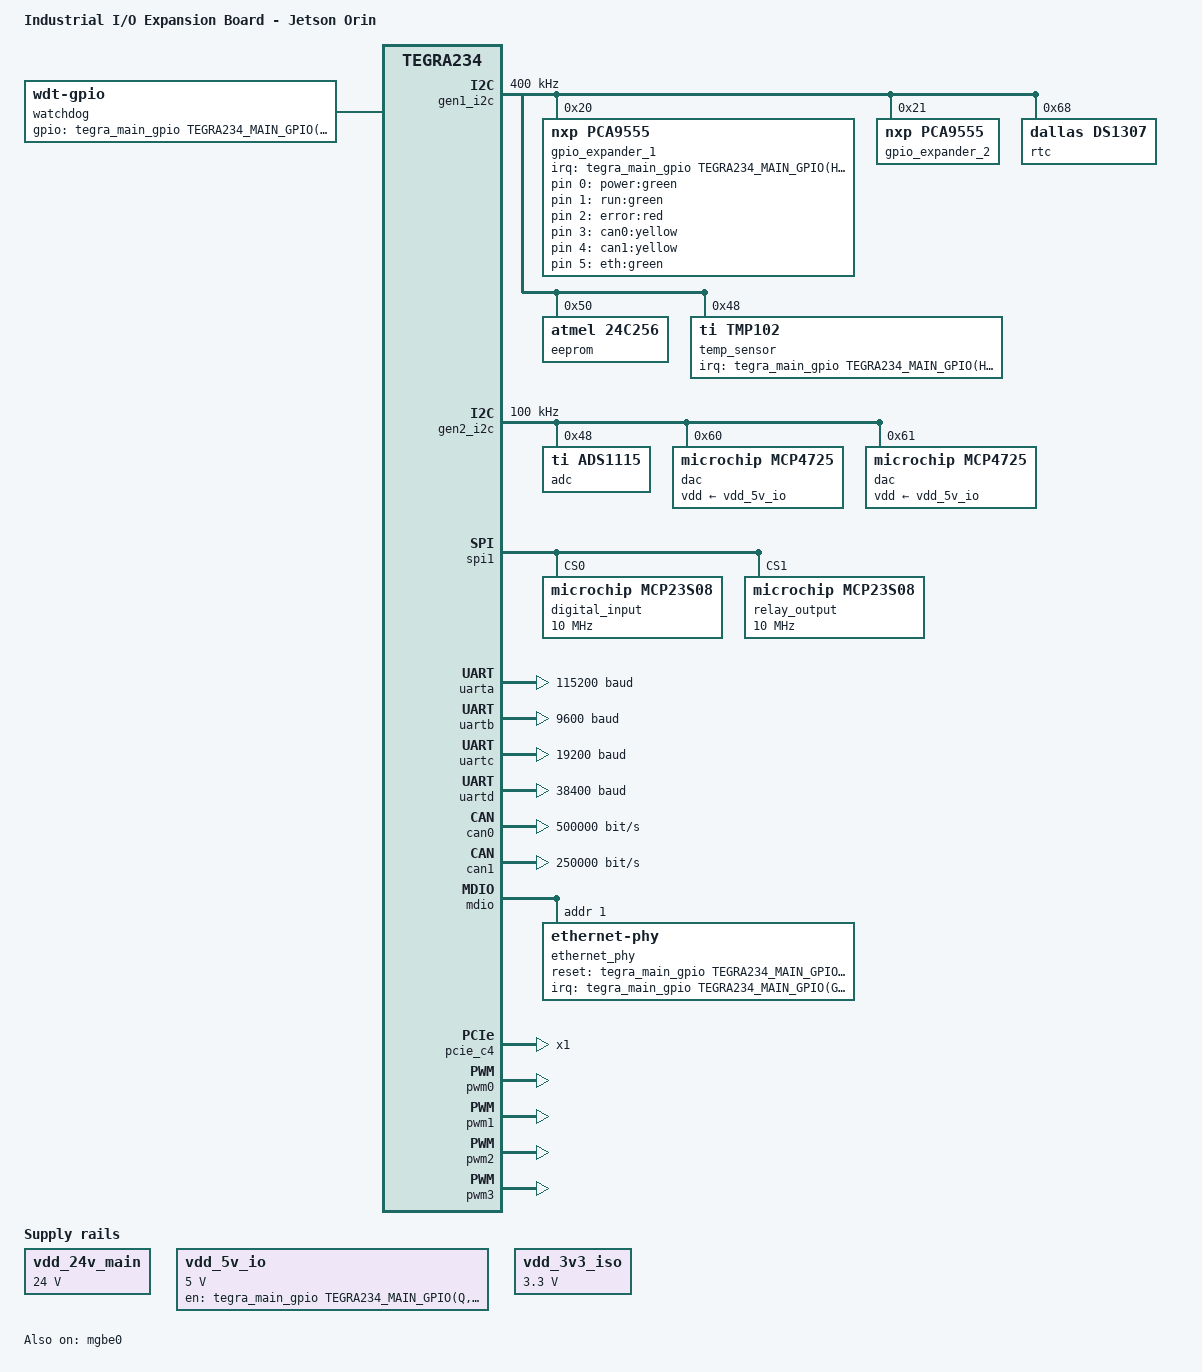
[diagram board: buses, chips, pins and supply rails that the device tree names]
// SPDX-License-Identifier: GPL-2.0
/*
 * Industrial I/O Expansion Board for Jetson Orin
 *
 * This device tree describes an industrial automation carrier board
 * with extensive I/O capabilities for factory automation, robotics,
 * and process control applications.
 *
 * Features:
 * - 8x isolated digital inputs (24V)
 * - 8x relay outputs (250VAC/30VDC)
 * - 4x analog inputs (0-10V, 4-20mA)
 * - 2x analog outputs (0-10V)
 * - 2x CAN bus (industrial protocols)
 * - 4x RS-485 serial ports
 * - Ethernet with TSN (Time-Sensitive Networking)
 * - Isolated power supplies
 * - Watchdog timer
 * - Real-time clock with battery backup
 *
 * Target: Industrial automation, robotics, machine control
 *
 * Compilation:
 *   dtc -I dts -O dtb -o industrial-io-board.dtb industrial-io-board.dts
 */

/dts-v1/;

#include <dt-bindings/clock/tegra234-clock.h>
#include <dt-bindings/gpio/tegra234-gpio.h>
#include <dt-bindings/interrupt-controller/arm-gic.h>

/ {
    model = "Industrial I/O Expansion Board - Jetson Orin";
    compatible = "industrial,io-board", "nvidia,p3768-0000+p3767-0000", "nvidia,tegra234";

    #address-cells = <2>;
    #size-cells = <2>;

    chosen {
        bootargs = "console=ttyTCU0,115200 isolcpus=0-3";  /* CPU isolation for RT */
        stdout-path = "serial0:115200n8";
    };

    /*
     * Power Supplies
     * ==============
     */
    regulators {
        compatible = "simple-bus";
        #address-cells = <1>;
        #size-cells = <0>;

        /* Main 24V input (from industrial power supply) */
        vdd_24v_main: regulator@0 {
            compatible = "regulator-fixed";
            reg = <0>;
            regulator-name = "VDD_24V_MAIN";
            regulator-min-microvolt = <24000000>;
            regulator-max-microvolt = <24000000>;
            regulator-always-on;
            regulator-boot-on;
        };

        /* Isolated 5V for I/O modules */
        vdd_5v_io: regulator@1 {
            compatible = "regulator-fixed";
            reg = <1>;
            regulator-name = "VDD_5V_IO";
            regulator-min-microvolt = <5000000>;
            regulator-max-microvolt = <5000000>;
            regulator-always-on;
            enable-active-high;
            gpio = <&tegra_main_gpio TEGRA234_MAIN_GPIO(Q, 0) 0>;
        };

        /* Isolated 3.3V for CAN/RS485 transceivers */
        vdd_3v3_iso: regulator@2 {
            compatible = "regulator-fixed";
            reg = <2>;
            regulator-name = "VDD_3V3_ISO";
            regulator-min-microvolt = <3300000>;
            regulator-max-microvolt = <3300000>;
            regulator-always-on;
        };
    };

    /*
     * Watchdog Timer
     * ==============
     */
    watchdog {
        compatible = "linux,wdt-gpio";
        gpios = <&tegra_main_gpio TEGRA234_MAIN_GPIO(R, 0) GPIO_ACTIVE_HIGH>;
        hw_algo = "toggle";
        hw_margin_ms = <1000>;
        always-running;
    };

    /*
     * Status LEDs
     * ===========
     */
    gpio-leds {
        compatible = "gpio-leds";

        power-ok {
            label = "power:green";
            gpios = <&gpio_expander_1 0 0>;
            default-state = "on";
        };

        system-run {
            label = "run:green";
            gpios = <&gpio_expander_1 1 0>;
            linux,default-trigger = "heartbeat";
        };

        system-error {
            label = "error:red";
            gpios = <&gpio_expander_1 2 0>;
            default-state = "off";
        };

        can0-active {
            label = "can0:yellow";
            gpios = <&gpio_expander_1 3 0>;
            linux,default-trigger = "can0-activity";
        };

        can1-active {
            label = "can1:yellow";
            gpios = <&gpio_expander_1 4 0>;
            linux,default-trigger = "can1-activity";
        };

        ethernet-link {
            label = "eth:green";
            gpios = <&gpio_expander_1 5 0>;
            linux,default-trigger = "netdev";
        };
    };
};

/*
 * I2C Configuration
 * =================
 */

/* I2C1: System Management */
&gen1_i2c {
    status = "okay";
    clock-frequency = <400000>;

    /* GPIO Expander for I/O control */
    gpio_expander_1: gpio@20 {
        compatible = "nxp,pca9555";
        reg = <0x20>;
        gpio-controller;
        #gpio-cells = <2>;
        interrupt-parent = <&tegra_main_gpio>;
        interrupts = <TEGRA234_MAIN_GPIO(H, 0) IRQ_TYPE_EDGE_FALLING>;
    };

    gpio_expander_2: gpio@21 {
        compatible = "nxp,pca9555";
        reg = <0x21>;
        gpio-controller;
        #gpio-cells = <2>;
    };

    /* Real-Time Clock with battery backup */
    rtc@68 {
        compatible = "dallas,ds1307";
        reg = <0x68>;
        trickle-resistor-ohms = <250>;
        wakeup-source;
    };

    /* EEPROM for configuration storage */
    eeprom@50 {
        compatible = "atmel,24c256";
        reg = <0x50>;
        pagesize = <64>;
    };

    /* Temperature sensor for enclosure */
    temp_sensor@48 {
        compatible = "ti,tmp102";
        reg = <0x48>;
        interrupt-parent = <&tegra_main_gpio>;
        interrupts = <TEGRA234_MAIN_GPIO(H, 1) IRQ_TYPE_EDGE_FALLING>;
    };
};

/* I2C2: Analog I/O Modules */
&gen2_i2c {
    status = "okay";
    clock-frequency = <100000>;

    /* 4-channel 16-bit ADC for analog inputs */
    adc@48 {
        compatible = "ti,ads1115";
        reg = <0x48>;
        #address-cells = <1>;
        #size-cells = <0>;

        channel@0 {
            reg = <0>;
            ti,gain = <1>;          /* ±4.096V range */
            ti,datarate = <4>;      /* 128 SPS */
        };

        channel@1 {
            reg = <1>;
            ti,gain = <1>;
        };

        channel@2 {
            reg = <2>;
            ti,gain = <1>;
        };

        channel@3 {
            reg = <3>;
            ti,gain = <1>;
        };
    };

    /* 2-channel 12-bit DAC for analog outputs */
    dac@60 {
        compatible = "microchip,mcp4725";
        reg = <0x60>;
        vdd-supply = <&vdd_5v_io>;
    };

    dac@61 {
        compatible = "microchip,mcp4725";
        reg = <0x61>;
        vdd-supply = <&vdd_5v_io>;
    };
};

/*
 * SPI Configuration
 * =================
 */

/* SPI1: Digital I/O expansion */
&spi1 {
    status = "okay";
    spi-max-frequency = <10000000>;

    /* 8-channel digital input (isolated) */
    digital_input: gpio@0 {
        compatible = "microchip,mcp23s08";
        reg = <0>;
        spi-max-frequency = <10000000>;
        gpio-controller;
        #gpio-cells = <2>;
        microchip,spi-present-mask = <0x01>;
    };

    /* 8-channel relay output driver */
    relay_output: gpio@1 {
        compatible = "microchip,mcp23s08";
        reg = <1>;
        spi-max-frequency = <10000000>;
        gpio-controller;
        #gpio-cells = <2>;
        microchip,spi-present-mask = <0x01>;
    };
};

/*
 * RS-485 Serial Ports
 * ===================
 */

/* UART1: RS-485 Port 1 (Modbus RTU) */
&uarta {
    status = "okay";
    current-speed = <115200>;

    linux,rs485-enabled-at-boot-time;
    rs485-rts-active-low;
    rs485-rx-during-tx;
};

/* UART2: RS-485 Port 2 (Profibus) */
&uartb {
    status = "okay";
    current-speed = <9600>;

    linux,rs485-enabled-at-boot-time;
    rs485-rts-active-low;
};

/* UART3: RS-485 Port 3 */
&uartc {
    status = "okay";
    current-speed = <19200>;

    linux,rs485-enabled-at-boot-time;
    rs485-rts-active-low;
};

/* UART4: RS-485 Port 4 */
&uartd {
    status = "okay";
    current-speed = <38400>;

    linux,rs485-enabled-at-boot-time;
    rs485-rts-active-low;
};

/*
 * CAN Bus Configuration
 * =====================
 */

/* CAN0: Primary CAN bus (500 kbit/s) */
&can0 {
    status = "okay";
    bus-speed = <500000>;

    can-transceiver {
        max-bitrate = <5000000>;
    };
};

/* CAN1: Secondary CAN bus (250 kbit/s) */
&can1 {
    status = "okay";
    bus-speed = <250000>;

    can-transceiver {
        max-bitrate = <5000000>;
    };
};

/*
 * Ethernet with TSN
 * =================
 */

&mgbe0 {
    status = "okay";
    phy-handle = <&ethernet_phy>;
    phy-mode = "rgmii-id";

    /* Time-Sensitive Networking support */
    ptp-hardware-clock;

    mdio {
        #address-cells = <1>;
        #size-cells = <0>;

        ethernet_phy: ethernet-phy@1 {
            reg = <1>;
            interrupt-parent = <&tegra_main_gpio>;
            interrupts = <TEGRA234_MAIN_GPIO(G, 4) IRQ_TYPE_LEVEL_LOW>;
            reset-gpios = <&tegra_main_gpio TEGRA234_MAIN_GPIO(G, 5) GPIO_ACTIVE_LOW>;
        };
    };
};

/*
 * PCIe for expansion modules
 * ===========================
 */

&pcie_c4 {
    status = "okay";
    num-lanes = <1>;
    max-link-speed = <3>;
};

/*
 * PWM for variable frequency drives
 * ==================================
 */

&pwm0 {
    status = "okay";
    #pwm-cells = <2>;
};

&pwm1 {
    status = "okay";
    #pwm-cells = <2>;
};

&pwm2 {
    status = "okay";
    #pwm-cells = <2>;
};

&pwm3 {
    status = "okay";
    #pwm-cells = <2>;
};

/*
 * Thermal Management
 * ==================
 */

&cpu_thermal {
    polling-delay-passive = <500>;
    polling-delay = <1000>;

    trips {
        cpu_alert: cpu-alert {
            temperature = <75000>;  /* Conservative for industrial */
            hysteresis = <2000>;
            type = "active";
        };

        cpu_crit: cpu-critical {
            temperature = <95000>;  /* Lower critical temp */
            hysteresis = <2000>;
            type = "critical";
        };
    };
};

/*
 * Pinmux Configuration
 * ====================
 */

&pinmux {
    pinctrl-names = "default";
    pinctrl-0 = <&industrial_pinmux>;

    industrial_pinmux: pinmux-industrial {
        /* RS-485 direction control GPIOs */
        rs485_1_de {
            nvidia,pins = "uart1_rts_pr4";
            nvidia,function = "rts1";
            nvidia,pull = <0>;
            nvidia,tristate = <0>;
        };

        rs485_2_de {
            nvidia,pins = "uart2_rts_px6";
            nvidia,function = "rts2";
            nvidia,pull = <0>;
            nvidia,tristate = <0>;
        };

        /* CAN bus pins */
        can0_tx {
            nvidia,pins = "can0_dout_paa1";
            nvidia,function = "can0";
            nvidia,pull = <0>;
            nvidia,tristate = <0>;
        };

        can0_rx {
            nvidia,pins = "can0_din_paa0";
            nvidia,function = "can0";
            nvidia,pull = <2>;  /* Pull-up */
            nvidia,tristate = <1>;
        };

        can1_tx {
            nvidia,pins = "can1_dout_paa3";
            nvidia,function = "can1";
            nvidia,pull = <0>;
            nvidia,tristate = <0>;
        };

        can1_rx {
            nvidia,pins = "can1_din_paa2";
            nvidia,function = "can1";
            nvidia,pull = <2>;
            nvidia,tristate = <1>;
        };
    };
};

/*
 * Usage Notes:
 * ============
 *
 * Digital Inputs (24V isolated):
 *   cat /sys/class/gpio/gpio*/value
 *   Configure as inputs with appropriate debouncing
 *
 * Relay Outputs:
 *   echo 1 > /sys/class/gpio/gpio*/value  # Energize relay
 *   echo 0 > /sys/class/gpio/gpio*/value  # De-energize relay
 *
 * Analog Inputs (via ADS1115):
 *   cat /sys/bus/iio/devices/iio:device0/in_voltage*_raw
 *   Convert to engineering units based on scaling
 *
 * Analog Outputs (via MCP4725):
 *   echo 2048 > /sys/bus/iio/devices/iio:device1/out_voltage0_raw
 *   Range: 0-4095 (12-bit)
 *
 * CAN Bus:
 *   ip link set can0 up type can bitrate 500000
 *   candump can0
 *   cansend can0 123#DEADBEEF
 *
 * RS-485:
 *   stty -F /dev/ttyTHS0 115200
 *   echo "command" > /dev/ttyTHS0
 *
 * Real-Time Configuration:
 *   chrt -f 99 ./realtime_app  # Run with real-time priority
 *   Use isolated CPUs for deterministic behavior
 *
 * Watchdog:
 *   Ensure application kicks watchdog regularly
 *   Monitor /dev/watchdog
 */
